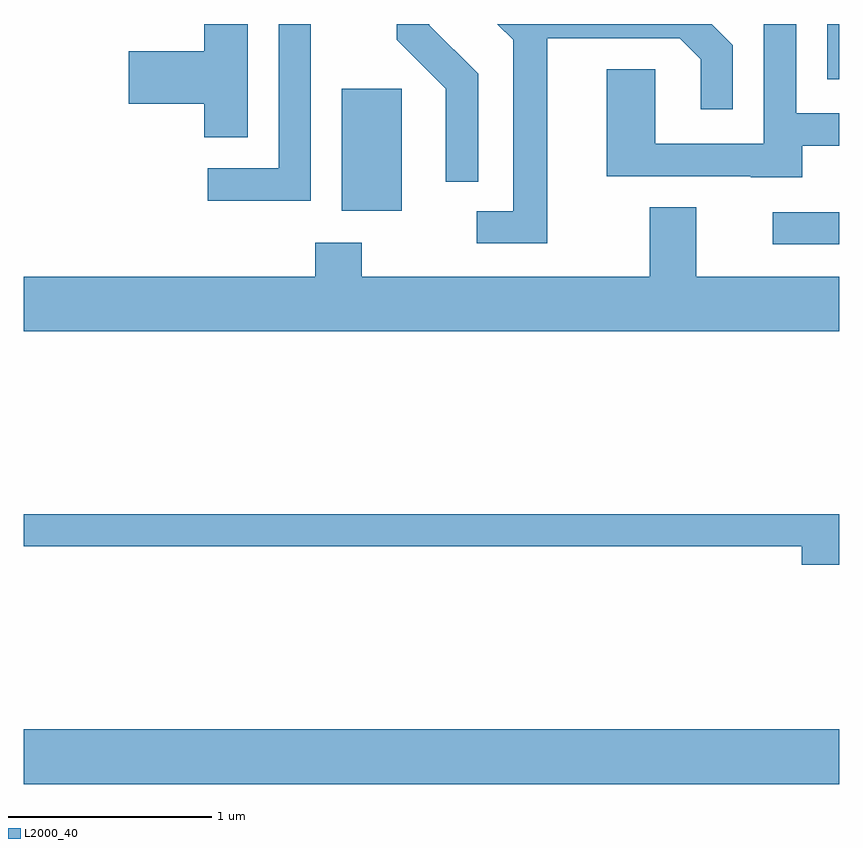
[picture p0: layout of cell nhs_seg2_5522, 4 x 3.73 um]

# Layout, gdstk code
import gdstk
lib = gdstk.Library(unit=1e-6, precision=1e-09)
def R(c, l, rs):  # rectangles x0, y0, x1, y1
    for r in rs: c.add(gdstk.rectangle(r[:2], r[2:], *l))
def P(c, l, *ps):  # polygons
    for p in ps: c.add(gdstk.Polygon(p, *l))
L2000_40 = (2000, 40)

nhs_seg2_5522 = lib.new_cell('nhs_seg2_5522')
R(nhs_seg2_5522, L2000_40, [(347.611,1066.076,351.611,1066.344), (351.283,1068.721,351.611,1068.879), (349.171,1068.886,349.464,1069.484), (351.551,1069.531,351.611,1069.802)])
P(nhs_seg2_5522, L2000_40, [(348.709,1069.802),(348.496,1069.802),(348.496,1069.669),(348.126,1069.669),(348.126,1069.411),(348.496,1069.411),(348.496,1069.246),(348.709,1069.246)],
  [(349.019,1069.802),(348.861,1069.802),(348.861,1069.094),(348.513,1069.094),(348.513,1068.936),(349.019,1068.936)],
  [(349.839,1069.557),(349.599,1069.797),(349.599,1069.802),(349.441,1069.802),(349.441,1069.724),(349.681,1069.484),(349.681,1069.028),(349.839,1069.028)],
  [(350.179,1069.731),(350.829,1069.731),(350.931,1069.629),(350.931,1069.383),(351.089,1069.383),(351.089,1069.697),(350.984,1069.802),(349.933,1069.802),(350.011,1069.724),(350.011,1068.884),(349.833,1068.884),(349.833,1068.726),(350.179,1068.726)],
  [(351.429,1069.206),(351.611,1069.206),(351.611,1069.364),(351.399,1069.364),(351.399,1069.802),(351.241,1069.802),(351.241,1069.214),(350.709,1069.214),(350.709,1069.579),(350.471,1069.579),(350.471,1069.056),(351.175,1069.056),(351.175,1069.051),(351.429,1069.051)],
  [(351.611,1068.564),(350.909,1068.564),(350.909,1068.904),(350.681,1068.904),(350.681,1068.564),(349.269,1068.564),(349.269,1068.729),(349.041,1068.729),(349.041,1068.564),(347.611,1068.564),(347.611,1068.296),(351.611,1068.296)],
  [(351.611,1067.399),(347.611,1067.399),(347.611,1067.241),(351.426,1067.241),(351.426,1067.151),(351.611,1067.151)])

lib.write_gds('nhs_seg2_5522.gds')
